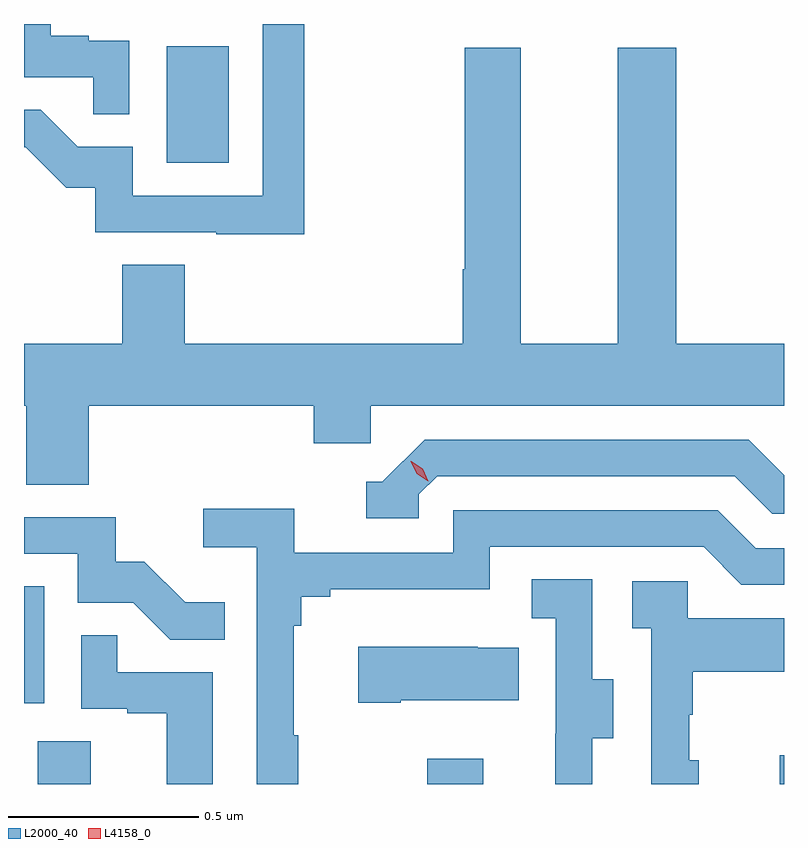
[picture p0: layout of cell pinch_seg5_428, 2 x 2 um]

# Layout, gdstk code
import gdstk
lib = gdstk.Library(unit=1e-6, precision=1e-09)
def R(c, l, rs):  # rectangles x0, y0, x1, y1
    for r in rs: c.add(gdstk.rectangle(r[:2], r[2:], *l))
def P(c, l, *ps):  # polygons
    for p in ps: c.add(gdstk.Polygon(p, *l))
L2000_40 = (2000, 40)
L4158_0 = (4158, 0)

pinch_seg5_428 = lib.new_cell('pinch_seg5_428')
R(pinch_seg5_428, L2000_40, [(977.765,862.425,977.905,862.538), (978.79,862.425,978.937,862.492), (979.718,862.425,979.729,862.501), (977.729,862.638,977.782,862.945), (978.104,864.06,978.268,864.367)])
P(pinch_seg5_428, L2000_40, [(978.006,864.381),(977.9,864.381),(977.9,864.394),(977.8,864.394),(977.8,864.425),(977.729,864.425),(977.729,864.285),(977.911,864.285),(977.911,864.187),(978.006,864.187)],
  [(978.466,864.425),(978.357,864.425),(978.357,863.973),(978.015,863.973),(978.015,864.102),(977.871,864.102),(977.773,864.2),(977.729,864.2),(977.729,864.101),(977.733,864.101),(977.84,863.994),(977.917,863.994),(977.917,863.877),(978.235,863.877),(978.235,863.872),(978.466,863.872)],
  [(977.9,863.42),(978.491,863.42),(978.491,863.322),(978.642,863.322),(978.642,863.42),(979.729,863.42),(979.729,863.584),(979.445,863.584),(979.445,864.363),(979.292,864.363),(979.292,863.584),(979.036,863.584),(979.036,864.363),(978.889,864.363),(978.889,863.78),(978.884,863.78),(978.884,863.584),(978.152,863.584),(978.152,863.792),(977.987,863.792),(977.987,863.584),(977.729,863.584),(977.729,863.42),(977.735,863.42),(977.735,863.212),(977.9,863.212)],
  [(978.768,863.187),(978.816,863.235),(979.599,863.235),(979.698,863.136),(979.729,863.136),(979.729,863.238),(979.636,863.331),(978.783,863.331),(978.672,863.22),(978.629,863.22),(978.629,863.124),(978.768,863.124)],
  [(978.451,862.553),(978.439,862.553),(978.439,862.841),(978.458,862.841),(978.458,862.918),(978.535,862.918),(978.535,862.937),(978.954,862.937),(978.954,863.049),(979.518,863.049),(979.617,862.95),(979.729,862.95),(979.729,863.046),(979.654,863.046),(979.555,863.145),(978.858,863.145),(978.858,863.034),(978.44,863.034),(978.44,863.15),(978.201,863.15),(978.201,863.048),(978.342,863.048),(978.342,862.425),(978.451,862.425)],
  [(978.257,862.903),(978.153,862.903),(978.046,863.01),(977.97,863.01),(977.97,863.127),(977.729,863.127),(977.729,863.031),(977.871,863.031),(977.871,862.902),(978.016,862.902),(978.114,862.804),(978.257,862.804)],
  [(979.225,862.546),(979.279,862.546),(979.279,862.701),(979.224,862.701),(979.224,862.964),(979.065,862.964),(979.065,862.861),(979.128,862.861),(979.128,862.557),(979.127,862.557),(979.127,862.425),(979.225,862.425)],
  [(979.504,862.488),(979.479,862.488),(979.479,862.607),(979.489,862.607),(979.489,862.721),(979.729,862.721),(979.729,862.861),(979.476,862.861),(979.476,862.959),(979.329,862.959),(979.329,862.835),(979.38,862.835),(979.38,862.425),(979.504,862.425)],
  [(978.226,862.719),(977.975,862.719),(977.975,862.817),(977.88,862.817),(977.88,862.623),(978.001,862.623),(978.001,862.611),(978.104,862.611),(978.104,862.425),(978.226,862.425)],
  [(978.721,862.646),(979.031,862.646),(979.031,862.783),(978.923,862.783),(978.923,862.786),(978.609,862.786),(978.609,862.639),(978.721,862.639)])
P(pinch_seg5_428, L4158_0, [(978.793,863.222),(978.763,863.242),(978.747,863.275),(978.747,863.275),(978.748,863.275),(978.778,863.255),(978.793,863.222),(978.793,863.222)])

lib.write_gds('pinch_seg5_428.gds')
